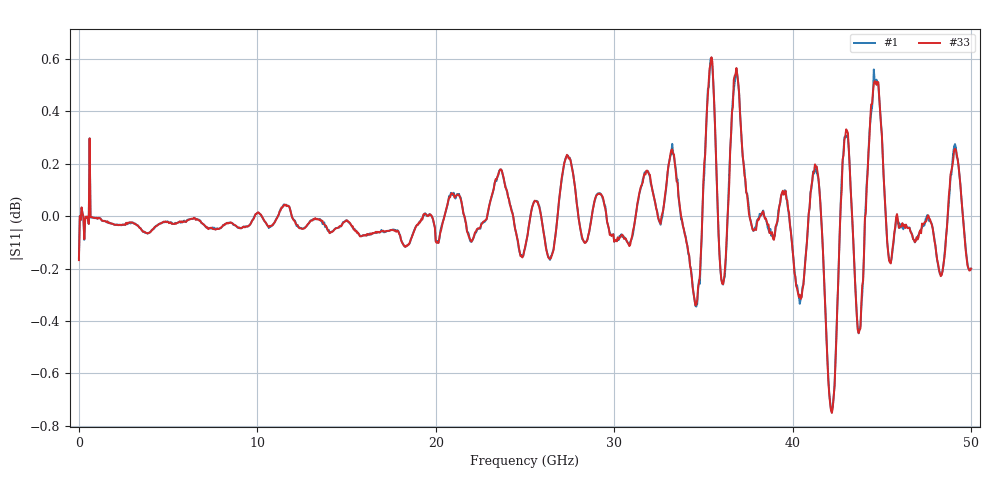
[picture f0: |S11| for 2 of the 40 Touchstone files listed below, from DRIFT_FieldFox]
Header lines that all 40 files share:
!Created with skrf (http://scikit-rf.org).
# Hz S RI R 50.0
!freq ReS11 ImS11
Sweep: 300 kHz to 50 GHz
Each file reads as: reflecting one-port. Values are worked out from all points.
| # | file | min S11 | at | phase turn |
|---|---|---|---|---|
| 1 | DRIFT1_t=70129s.s1p | -0.7 dB | 42.2 GHz | -818 deg |
| 2 | DRIFT1_t=70182s.s1p | -0.7 dB | 42.2 GHz | -818 deg |
| 3 | DRIFT1_t=70235s.s1p | -0.7 dB | 42.2 GHz | -818 deg |
| 4 | DRIFT1_t=70288s.s1p | -0.7 dB | 42.2 GHz | -818 deg |
| 5 | DRIFT1_t=70341s.s1p | -0.7 dB | 42.2 GHz | -818 deg |
| 6 | DRIFT1_t=70393s.s1p | -0.7 dB | 42.2 GHz | -818 deg |
| 7 | DRIFT1_t=70446s.s1p | -0.7 dB | 42.2 GHz | -818 deg |
| 8 | DRIFT1_t=70499s.s1p | -0.7 dB | 42.2 GHz | -818 deg |
| 9 | DRIFT1_t=70552s.s1p | -0.7 dB | 42.2 GHz | -818 deg |
| 10 | DRIFT1_t=70605s.s1p | -0.7 dB | 42.2 GHz | -818 deg |
| 11 | DRIFT1_t=70658s.s1p | -0.7 dB | 42.2 GHz | -818 deg |
| 12 | DRIFT1_t=70711s.s1p | -0.7 dB | 42.2 GHz | -818 deg |
| 13 | DRIFT1_t=70764s.s1p | -0.7 dB | 42.2 GHz | -818 deg |
| 14 | DRIFT1_t=70817s.s1p | -0.7 dB | 42.2 GHz | -818 deg |
| 15 | DRIFT1_t=70869s.s1p | -0.7 dB | 42.2 GHz | -818 deg |
| 16 | DRIFT1_t=70922s.s1p | -0.7 dB | 42.2 GHz | -818 deg |
| 17 | DRIFT1_t=70975s.s1p | -0.7 dB | 42.2 GHz | -818 deg |
| 18 | DRIFT1_t=71028s.s1p | -0.7 dB | 42.2 GHz | -818 deg |
| 19 | DRIFT1_t=71081s.s1p | -0.7 dB | 42.2 GHz | -818 deg |
| 20 | DRIFT1_t=71134s.s1p | -0.7 dB | 42.2 GHz | -818 deg |
| 21 | DRIFT1_t=71187s.s1p | -0.7 dB | 42.2 GHz | -818 deg |
| 22 | DRIFT1_t=71240s.s1p | -0.7 dB | 42.2 GHz | -818 deg |
| 23 | DRIFT1_t=71292s.s1p | -0.7 dB | 42.2 GHz | -818 deg |
| 24 | DRIFT1_t=71345s.s1p | -0.7 dB | 42.2 GHz | -818 deg |
| 25 | DRIFT1_t=71398s.s1p | -0.7 dB | 42.2 GHz | -818 deg |
| 26 | DRIFT1_t=71451s.s1p | -0.7 dB | 42.2 GHz | -818 deg |
| 27 | DRIFT1_t=71504s.s1p | -0.7 dB | 42.2 GHz | -818 deg |
| 28 | DRIFT1_t=71557s.s1p | -0.7 dB | 42.2 GHz | -818 deg |
| 29 | DRIFT1_t=71610s.s1p | -0.7 dB | 42.2 GHz | -818 deg |
| 30 | DRIFT1_t=71662s.s1p | -0.7 dB | 42.2 GHz | -818 deg |
| 31 | DRIFT1_t=71715s.s1p | -0.7 dB | 42.2 GHz | -818 deg |
| 32 | DRIFT1_t=71768s.s1p | -0.7 dB | 42.2 GHz | -818 deg |
| 33 | DRIFT1_t=71821s.s1p | -0.8 dB | 42.2 GHz | -818 deg |
| 34 | DRIFT1_t=71874s.s1p | -0.7 dB | 42.2 GHz | -818 deg |
| 35 | DRIFT1_t=71927s.s1p | -0.7 dB | 42.2 GHz | -818 deg |
| 36 | DRIFT1_t=71979s.s1p | -0.7 dB | 42.2 GHz | -818 deg |
| 37 | DRIFT1_t=72032s.s1p | -0.7 dB | 42.2 GHz | -818 deg |
| 38 | DRIFT1_t=72085s.s1p | -0.7 dB | 42.2 GHz | -818 deg |
| 39 | DRIFT1_t=72138s.s1p | -0.8 dB | 42.2 GHz | -818 deg |
| 40 | DRIFT1_t=72191s.s1p | -0.8 dB | 42.2 GHz | -818 deg |
